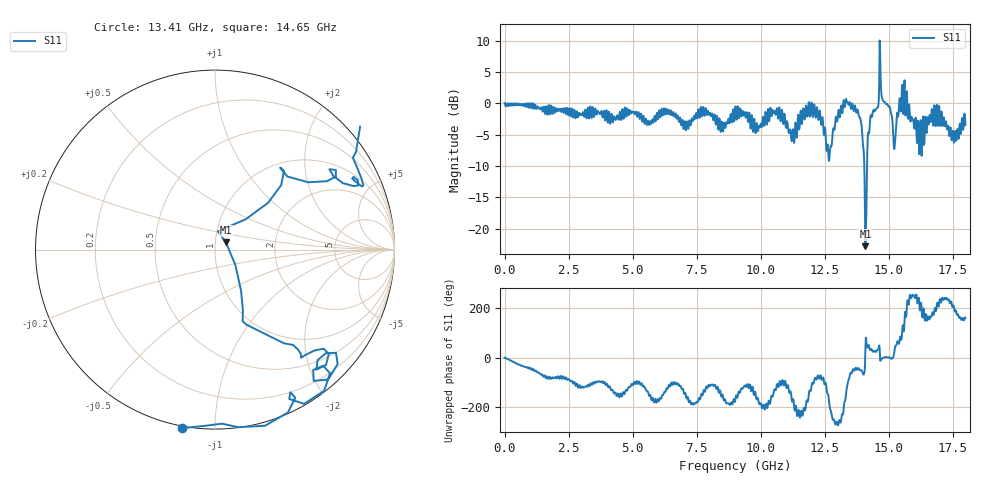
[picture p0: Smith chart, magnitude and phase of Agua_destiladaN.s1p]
!Keysight Technologies N9917A: A.12.46
!Date: Friday, 22 December 2023 20:15:29
!TimeZone: (UTC-03:00) Buenos Aires!Model: N9917A
!Serial: MY56072049
!GPS Latitude:
!GPS Longitude:
!GPS TimeStamp: 0001-01-01 00:00:00Z
!GPS Seconds Since Last Read: 0
!CHECKSUM:1508100974
!Correction: S11(ON U)
!S1P File: Measurement: S11:
# Hz S DB R 50
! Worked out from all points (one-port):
!   1001 points, 30 kHz to 18 GHz, reference 50 ohm
!   lowest |S11| = -22.8 dB at 14.09 GHz (marker M1), VSWR 1.16, Z = 56.2 + j4.54 ohm
!   |S11| at or under -10 dB: 14.05 GHz to 14.16 GHz (108.6 MHz wide, 0.77 % of centre)
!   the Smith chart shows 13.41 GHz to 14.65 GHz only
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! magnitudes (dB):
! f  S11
! 30 kHz  0.0
! 2.25 GHz  -0.9
! 4.5 GHz  -1.4
! 6.75 GHz  -2.1
! 7.848 GHz  -0.8
! 8.532 GHz  -4.5
! 9 GHz  -1.4
! 9.882 GHz  -4.4
! 10.66 GHz  -1.3
! 11.25 GHz  -4.5
! 12.04 GHz  -2.2
! 12.37 GHz  -3.4
! 12.67 GHz  -9.2
! 13 GHz  -2.9
! 13.5 GHz  0.0
! 13.88 GHz  -2.3
! 14.09 GHz  -22.8
! 14.17 GHz  -8.1
! 14.27 GHz  -2.7
! 14.65 GHz  10.0
! 15.05 GHz  -0.6
! 15.21 GHz  -7.3
! 15.53 GHz  2.9
! 15.75 GHz  -2.2
! 16.22 GHz  -6.7
! 16.79 GHz  -0.6
! 17.55 GHz  -6.3
! 18 GHz  -3.5
